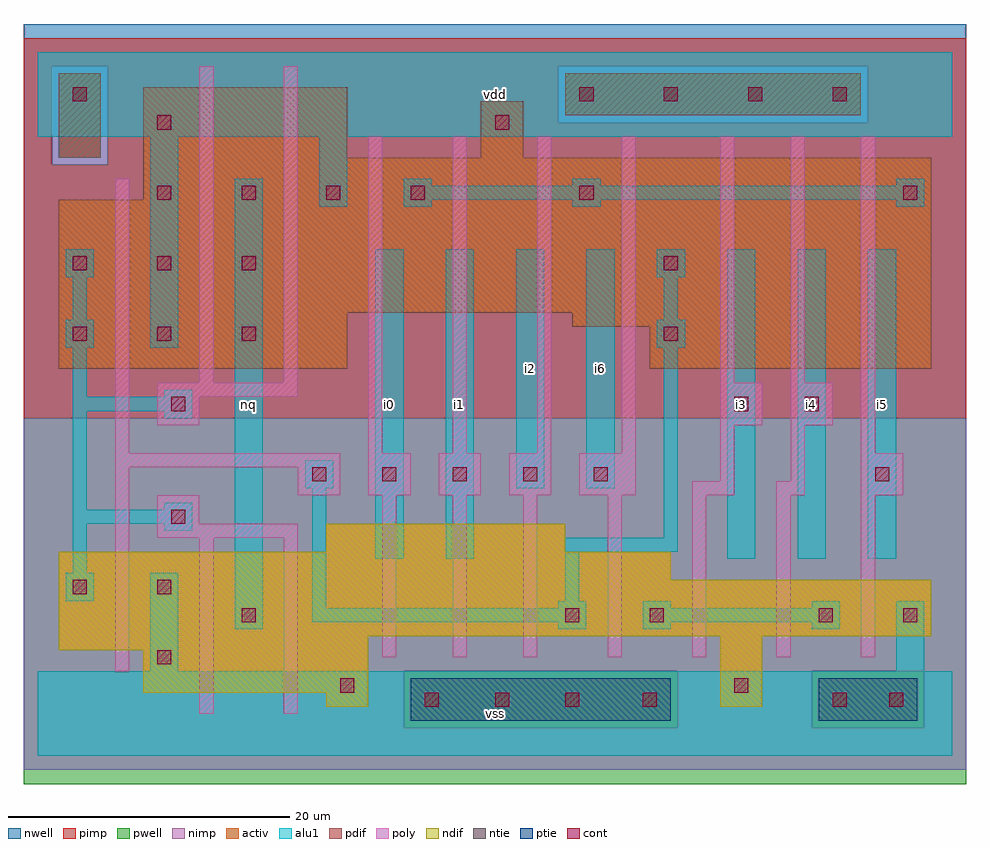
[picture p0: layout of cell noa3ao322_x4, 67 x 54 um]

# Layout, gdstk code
import gdstk
lib = gdstk.Library(unit=1e-6, precision=1e-09)
def R(c, l, rs):  # rectangles x0, y0, x1, y1
    for r in rs: c.add(gdstk.rectangle(r[:2], r[2:], *l))
def A(c, l, x, y, w, h, nx, ny, dx, dy):  # array of equal rectangles
    R(c, l, [(x+i*dx, y+j*dy, x+i*dx+w, y+j*dy+h) for i in range(nx) for j in range(ny)])
ndif = (3, 0)
pdif = (4, 0)
ntie = (5, 0)
ptie = (6, 0)
cont = (25, 0)
pwell = (41, 0)
nwell = (42, 0)
activ = (43, 0)
pimp = (44, 0)
nimp = (45, 0)
poly = (46, 0)
alu1 = (49, 0)

noa3ao322_x4 = lib.new_cell('noa3ao322_x4')
R(noa3ao322_x4, ndif, [(20.5,3.5,23.5,4.5), (48.5,3.5,51.5,8.5), (7.5,4.5,23.5,7.5), (1.5,7.5,23.5,8.5), (1.5,8.5,63.5,12.5), (1.5,12.5,45,14.5), (20.5,14.5,37.5,16.5)])
R(noa3ao322_x4, pdif, [(1.5,27.5,22,31.5), (43.5,27.5,63.5,30.5), (38,30.5,63.5,31.5), (1.5,31.5,63.5,39.5), (7.5,39.5,63.5,42.5), (7.5,42.5,22,47.5), (31.5,42.5,34.5,46.5)])
R(noa3ao322_x4, ntie, [(1.5,42.5,4.5,48.5), (37.5,45.5,58.5,48.5)])
R(noa3ao322_x4, ptie, [(26.5,2.5,45,5.5), (55.5,2.5,62.5,5.5)])
A(noa3ao322_x4, cont, 27.5, 3.5, 1, 1, 3, 1, 5, 0)
A(noa3ao322_x4, cont, 19.5, 19.5, 1, 1, 5, 1, 5, 0)
A(noa3ao322_x4, cont, 2.5, 29.5, 1, 1, 3, 2, 6, 5)
A(noa3ao322_x4, cont, 8.5, 39.5, 1, 1, 4, 1, 6, 0)
A(noa3ao322_x4, cont, 38.5, 46.5, 1, 1, 4, 1, 6, 0)
R(noa3ao322_x4, cont, [(43,3.5,44,4.5), (56.5,3.5,57.5,4.5), (60.5,3.5,61.5,4.5), (21.5,4.5,22.5,5.5), (49.5,4.5,50.5,5.5), (8.5,6.5,9.5,7.5), (14.5,9.5,15.5,10.5), (37.5,9.5,38.5,10.5), (43.5,9.5,44.5,10.5), (55.5,9.5,56.5,10.5), (61.5,9.5,62.5,10.5), (2.5,11.5,3.5,12.5), (8.5,11.5,9.5,12.5), (9.5,16.5,10.5,17.5), (59.5,19.5,60.5,20.5), (9.5,24.5,10.5,25.5), (49.5,24.5,50.5,25.5), (54.5,24.5,55.5,25.5), (44.5,29.5,45.5,30.5), (44.5,34.5,45.5,35.5), (38.5,39.5,39.5,40.5), (61.5,39.5,62.5,40.5), (8.5,44.5,9.5,45.5), (32.5,44.5,33.5,45.5), (2.5,46.5,3.5,47.5)])
R(noa3ao322_x4, pwell, [(-1,-2,66,24)])
R(noa3ao322_x4, nwell, [(-1,24,66,52)])
R(noa3ao322_x4, activ, [(26.5,2.5,45,5.5), (55.5,2.5,62.5,5.5), (20.5,3.5,23.5,4.5), (48.5,3.5,51.5,8.5), (7.5,4.5,23.5,7.5), (1.5,7.5,23.5,8.5), (1.5,8.5,63.5,12.5), (1.5,12.5,45,14.5), (20.5,14.5,37.5,16.5), (1.5,27.5,22,31.5), (43.5,27.5,63.5,30.5), (38,30.5,63.5,31.5), (1.5,31.5,63.5,39.5), (7.5,39.5,63.5,42.5), (1.5,42.5,4.5,48.5), (7.5,42.5,22,47.5), (31.5,42.5,34.5,46.5), (37.5,45.5,58.5,48.5)])
R(noa3ao322_x4, pimp, [(26,2,45.5,6), (55,2,63,6), (-1,24,66,42), (-1,42,1,49), (5,42,66,45), (5,45,37,49), (59,45,66,49), (-1,49,66,51)])
R(noa3ao322_x4, nimp, [(-1,-1,66,2), (-1,2,26,6), (45.5,2,55,6), (63,2,66,6), (-1,6,66,24), (1,42,5,49), (37,45,59,49)])
A(noa3ao322_x4, poly, 24.5, 7, 1, 11.5, 3, 1, 5, 0)
A(noa3ao322_x4, poly, 40.5, 7, 1, 11.5, 4, 1, 6, 0)
A(noa3ao322_x4, poly, 23.5, 18.5, 3, 3, 3, 1, 5, 0)
A(noa3ao322_x4, poly, 23.5, 21.5, 1, 22.5, 4, 1, 6, 0)
R(noa3ao322_x4, poly, [(11.5,3,12.5,15.5), (17.5,3,18.5,15.5), (5.5,6,6.5,20.5), (8.5,15.5,18.5,16.5), (8.5,16.5,11.5,18.5), (18.5,18.5,21.5,20.5), (38.5,18.5,42.5,21.5), (46.5,18.5,49.5,19.5), (52.5,18.5,54.5,19.5), (58.5,18.5,61.5,21.5), (48.5,19.5,49.5,23.5), (53.5,19.5,54.5,23.5), (5.5,20.5,21.5,21.5), (5.5,21.5,6.5,41), (58.5,21.5,59.5,44), (8.5,23.5,11.5,25.5), (48.5,23.5,51.5,26.5), (53.5,23.5,56.5,26.5), (8.5,25.5,18.5,26.5), (11.5,26.5,12.5,49), (17.5,26.5,18.5,49), (48.5,26.5,49.5,44), (53.5,26.5,54.5,44)])
A(noa3ao322_x4, alu1, 49, 14, 2, 22, 3, 1, 5, 0)
R(noa3ao322_x4, alu1, [(0,0,65,6), (8,6,10,13), (61,6,63,11), (14,9,16,41), (37,9,39,9.5), (43,9,45,9.5), (55,9,57,9.5), (19.5,9.5,39,10.5), (43,9.5,57,10.5), (19.5,10.5,20.5,19), (37,10.5,39,11), (43,10.5,45,11), (55,10.5,57,11), (2,11,4,13), (37.5,11,38.5,14.5), (2.5,13,3.5,16.5), (24,14,26,36), (29,14,31,36), (37.5,14.5,45.5,15.5), (44.5,15.5,45.5,29), (9,16,11,16.5), (2.5,16.5,11,17.5), (2.5,17.5,3.5,24.5), (9,17.5,11,18), (19,19,21,21), (34,19,36,36), (39,19,41,36), (9,24,11,24.5), (2.5,24.5,11,25.5), (2.5,25.5,3.5,29), (9,25.5,11,26), (2,29,4,31), (8,29,10,44), (44,29,46,31), (2.5,31,3.5,34), (44.5,31,45.5,34), (2,34,4,36), (44,34,46,36), (20,39,22,44), (26,39,28,39.5), (38,39,40,39.5), (61,39,63,39.5), (26,39.5,63,40.5), (26,40.5,28,41), (38,40.5,40,41), (61,40.5,63,41), (0,44,65,50)])
noa3ao322_x4.add(gdstk.Label('nq', (15,25), layer=49, texttype=0))
noa3ao322_x4.add(gdstk.Label('vss', (32.5,3), layer=49, texttype=0))
noa3ao322_x4.add(gdstk.Label('i0', (25,25), layer=49, texttype=0))
noa3ao322_x4.add(gdstk.Label('i2', (35,27.5), layer=49, texttype=0))
noa3ao322_x4.add(gdstk.Label('i1', (30,25), layer=49, texttype=0))
noa3ao322_x4.add(gdstk.Label('vdd', (32.5,47), layer=49, texttype=0))
noa3ao322_x4.add(gdstk.Label('i6', (40,27.5), layer=49, texttype=0))
noa3ao322_x4.add(gdstk.Label('i3', (50,25), layer=49, texttype=0))
noa3ao322_x4.add(gdstk.Label('i4', (55,25), layer=49, texttype=0))
noa3ao322_x4.add(gdstk.Label('i5', (60,25), layer=49, texttype=0))

lib.write_gds('noa3ao322_x4.gds')
